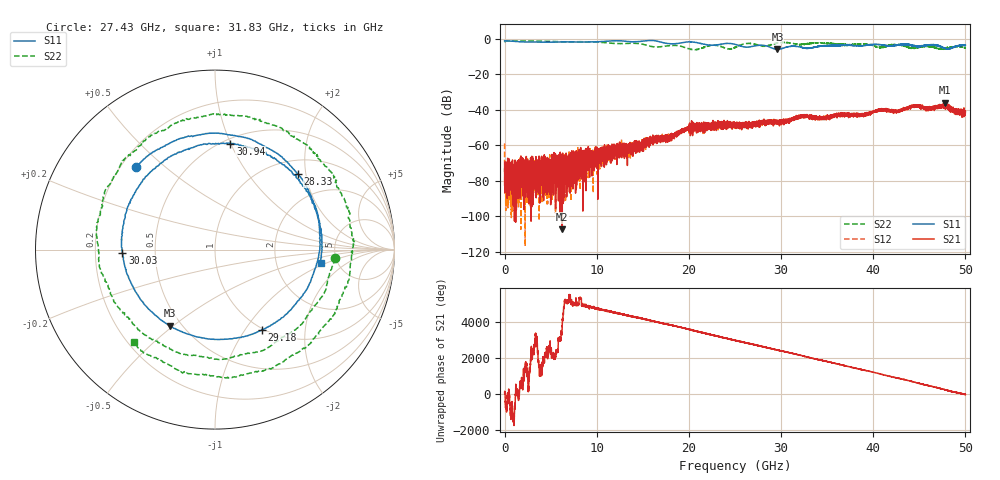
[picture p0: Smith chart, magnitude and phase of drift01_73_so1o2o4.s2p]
!Created with skrf (http://scikit-rf.org).
# Hz S RI R 50.0
!freq ReS11 ImS11 ReS21 ImS21 ReS12 ImS12 ReS22 ImS22
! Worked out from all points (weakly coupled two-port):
!   10001 points, 300 kHz to 50 GHz, reference 50 ohm
!   highest |S21| = -36.20 dB at 47.81 GHz (marker M1); lowest = -107.5 dB at 6.255 GHz (marker M2)
!   lowest |S11| = -6.2 dB at 29.61 GHz (marker M3), VSWR 2.94, Z = 21.7 - j24.4 ohm
!   |S11| at or under -10 dB: nowhere
!   |S22| runs from -6.4 to -1.4 dB; largest |S21 - S12| = 0.0044
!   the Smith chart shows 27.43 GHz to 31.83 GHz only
!   S11 on the Smith chart (normalised r, x): 27.43 GHz: 0.26, +0.40; 28.33 GHz: 1.30, +1.80; 29.18 GHz: 0.98, -1.20; 30.03 GHz: 0.32, -0.02; 30.94 GHz: 0.54, +1.00; 31.83 GHz: 3.70, -0.87
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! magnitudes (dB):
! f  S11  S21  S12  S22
! 300 kHz  -1.3  -82.4  -59.1  -2.1
! 290.3 MHz  -1.4  -78.5  -70.0  -1.4
! 6.255 GHz  -1.9  -107.5  -67.8  -1.8
! 8.335 GHz  -2.0  -68.2  -68.5  -1.8
! 16.67 GHz  -1.6  -57.8  -56.8  -4.8
! 18.62 GHz  -2.9  -52.6  -53.0  -3.9
! 20.38 GHz  -1.9  -50.3  -49.1  -6.3
! 22.62 GHz  -3.8  -48.8  -49.1  -3.8
! 25 GHz  -3.2  -48.1  -50.3  -5.0
! 27.43 GHz  -3.9  -47.3  -48.0  -3.5
! 28.33 GHz  -4.1  -46.9  -46.5  -4.4
! 29.18 GHz  -5.7  -47.2  -47.6  -3.0
! 29.61 GHz  -6.2  -47.4  -46.6  -2.6
! 30.03 GHz  -5.7  -46.6  -46.8  -2.3
! 30.94 GHz  -4.5  -47.0  -46.2  -2.5
! 31.83 GHz  -4.5  -44.3  -44.7  -3.3
! 33.34 GHz  -5.2  -44.6  -43.8  -2.7
! 41.67 GHz  -4.2  -40.1  -39.9  -3.9
! 44.6 GHz  -4.2  -37.6  -38.1  -5.4
! 46.52 GHz  -3.6  -38.1  -39.4  -4.8
! 47.81 GHz  -5.8  -36.2  -38.8  -5.6
! 50 GHz  -3.8  -40.8  -41.9  -5.2
